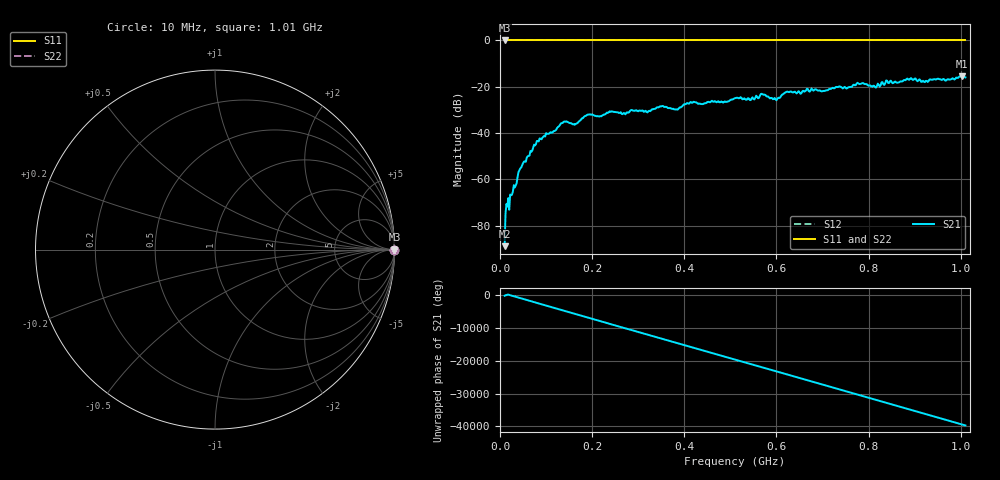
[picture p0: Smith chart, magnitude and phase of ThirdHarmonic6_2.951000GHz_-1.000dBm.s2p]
! 8/17/2025 8:18:01 AM
! C:\ANRITSUVNA\TEMP\TEMP.S2P
! CHANNEL.1
! TR.MEASUREMENT
! RAW.DATA
! RF.CORRECTION.OFF
! AVERAGING.OFF
! IF.BANDWIDTH: 5KHZ
! SWEEPTYPE:  FREQ.SWEEP(Linear)
! Reference Plane Port Info
! PORT:  PORT1  PORT2
! DISTANCE:  0  m  0  m
! TIME:  0  s  0  s
! PHASE.OFFSET:  0  deg.  0  deg.
! LOSS:  0  dB  0  dB
! REF.LOSS:  0  dB  0  dB
! REF.FREQ:  0  Hz  0  Hz
! Power Info
! POWER:  -20  dBm  -20  dBm
! EFF.POWER:  -20  dBm  -20  dBm
! SOURCE.ATTEN:  0  dB  0  dB
! TEST.ATTEN:  0  dB  0  dB
# GHZ S RI R 50.0
! FREQ.GHZ  S11RE  S11IM  S21RE  S21IM  S12RE  S12IM  S22RE  S22IM
!; PortSelection: Port_12
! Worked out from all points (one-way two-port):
!   501 points, 10 MHz to 1.01 GHz, reference 50 ohm
!   highest |S21| = -15.41 dB at 1.002 GHz (marker M1); lowest = -88.8 dB at 10 MHz (marker M2)
!   lowest |S11| = 0.0 dB at 10 MHz (marker M3)
!   |S11| at or under -10 dB: nowhere
!   |S22| runs from 0.0 to 0.0 dB; largest |S21 - S12| = 1.2
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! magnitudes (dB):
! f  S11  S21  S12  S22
! 10 MHz  0.0  -88.8  0.0  0.0
! 18 MHz  0.0  -68.0  0.0  0.0
! 44 MHz  0.0  -55.2  0.0  0.0
! 78 MHz  0.0  -44.8  0.0  0.0
! 136 MHz  0.0  -35.6  0.0  0.0
! 162 MHz  0.0  -36.4  0.0  0.0
! 178 MHz  0.0  -33.6  0.0  0.0
! 192 MHz  0.0  -32.0  0.0  0.0
! 344 MHz  0.0  -28.9  0.0  0.0
! 382 MHz  0.0  -29.7  0.0  0.0
! 416 MHz  0.0  -26.9  0.0  0.0
! 510 MHz  0.0  -24.9  0.0  0.0
! 548 MHz  0.0  -24.6  0.0  0.0
! 570 MHz  0.0  -23.3  0.0  0.0
! 598 MHz  0.0  -25.4  0.0  0.0
! 622 MHz  0.0  -22.1  0.0  0.0
! 678 MHz  0.0  -21.2  0.0  0.0
! 778 MHz  0.0  -18.6  0.0  0.0
! 812 MHz  0.0  -19.6  0.0  0.0
! 844 MHz  0.0  -18.4  0.0  0.0
! 1.002 GHz  0.0  -15.4  0.0  0.0
! 1.01 GHz  0.0  -15.9  0.0  0.0
